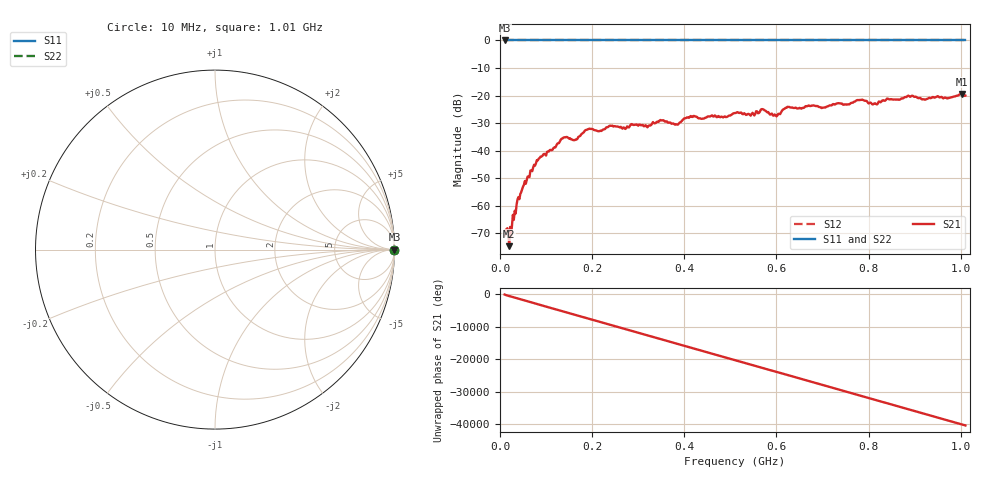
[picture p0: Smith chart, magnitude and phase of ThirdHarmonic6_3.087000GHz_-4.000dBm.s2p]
! 8/17/2025 9:04:02 AM
! C:\ANRITSUVNA\TEMP\TEMP.S2P
! CHANNEL.1
! TR.MEASUREMENT
! RAW.DATA
! RF.CORRECTION.OFF
! AVERAGING.OFF
! IF.BANDWIDTH: 5KHZ
! SWEEPTYPE:  FREQ.SWEEP(Linear)
! Reference Plane Port Info
! PORT:  PORT1  PORT2
! DISTANCE:  0  m  0  m
! TIME:  0  s  0  s
! PHASE.OFFSET:  0  deg.  0  deg.
! LOSS:  0  dB  0  dB
! REF.LOSS:  0  dB  0  dB
! REF.FREQ:  0  Hz  0  Hz
! Power Info
! POWER:  -20  dBm  -20  dBm
! EFF.POWER:  -20  dBm  -20  dBm
! SOURCE.ATTEN:  0  dB  0  dB
! TEST.ATTEN:  0  dB  0  dB
# GHZ S RI R 50.0
! FREQ.GHZ  S11RE  S11IM  S21RE  S21IM  S12RE  S12IM  S22RE  S22IM
!; PortSelection: Port_12
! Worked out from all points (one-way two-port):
!   501 points, 10 MHz to 1.01 GHz, reference 50 ohm
!   highest |S21| = -19.43 dB at 1.002 GHz (marker M1); lowest = -74.7 dB at 20 MHz (marker M2)
!   lowest |S11| = 0.0 dB at 10 MHz (marker M3)
!   |S11| at or under -10 dB: nowhere
!   |S22| runs from 0.0 to 0.0 dB; largest |S21 - S12| = 1.1
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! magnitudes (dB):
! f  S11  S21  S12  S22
! 10 MHz  0.0  -70.8  0.0  0.0
! 20 MHz  0.0  -74.7  0.0  0.0
! 50 MHz  0.0  -53.1  0.0  0.0
! 84 MHz  0.0  -43.0  0.0  0.0
! 136 MHz  0.0  -35.6  0.0  0.0
! 162 MHz  0.0  -36.2  0.0  0.0
! 178 MHz  0.0  -33.9  0.0  0.0
! 194 MHz  0.0  -32.0  0.0  0.0
! 322 MHz  0.0  -31.0  0.0  0.0
! 344 MHz  0.0  -29.6  0.0  0.0
! 384 MHz  0.0  -30.5  0.0  0.0
! 416 MHz  0.0  -27.7  0.0  0.0
! 510 MHz  0.0  -26.4  0.0  0.0
! 570 MHz  0.0  -25.0  0.0  0.0
! 598 MHz  0.0  -27.1  0.0  0.0
! 624 MHz  0.0  -24.1  0.0  0.0
! 678 MHz  0.0  -23.7  0.0  0.0
! 784 MHz  0.0  -21.6  0.0  0.0
! 814 MHz  0.0  -22.8  0.0  0.0
! 844 MHz  0.0  -21.4  0.0  0.0
! 1.002 GHz  0.0  -19.4  0.0  0.0
! 1.01 GHz  0.0  -20.0  0.0  0.0
